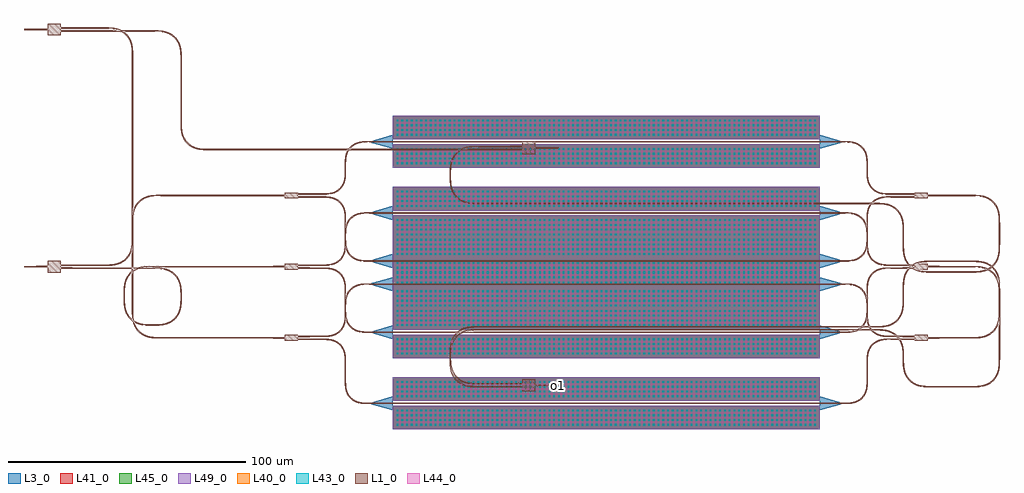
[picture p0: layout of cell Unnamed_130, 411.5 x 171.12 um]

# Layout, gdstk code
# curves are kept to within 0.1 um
from math import pi, radians
import gdstk
lib = gdstk.Library(unit=1e-6, precision=1e-09)
def R(c, l, rs):  # rectangles x0, y0, x1, y1
    for r in rs: c.add(gdstk.rectangle(r[:2], r[2:], *l))
def P(c, l, *ps):  # polygons
    for p in ps: c.add(gdstk.Polygon(p, *l))
L1_0 = (1, 0)
L3_0 = (3, 0)
L40_0 = (40, 0)
L41_0 = (41, 0)
L43_0 = (43, 0)
L44_0 = (44, 0)
L45_0 = (45, 0)
L49_0 = (49, 0)

mmi_gdsfactorypcomponent = lib.new_cell('mmi_gdsfactorypcomponentspmmispmmi_I1_O2_WNone_WT1_LT10_571b94f3')
P(mmi_gdsfactorypcomponent, L1_0, [(0,-2.5),(0,-0.5),(-10,-0.25),(-10,0.25),(0,0.5),(0,2.5),(5.5,2.5),(5.5,1.125),(15.5,0.875),(15.5,0.375),(5.5,0.125),(5.5,-0.125),(15.5,-0.375),(15.5,-0.875),(5.5,-1.125),(5.5,-2.5)])

mmi1x2_gdsfactorypcompon = lib.new_cell('mmi1x2_gdsfactorypcomponentspmmispmmi1x2_WNone_WT1_LT10_1f097353')
P(mmi1x2_gdsfactorypcompon, L1_0, [(0,-1.25),(0,-0.5),(-10,-0.25),(-10,0.25),(0,0.5),(0,1.25),(5.5,1.25),(5.5,1.125),(15.5,0.875),(15.5,0.375),(5.5,0.125),(5.5,-0.125),(15.5,-0.375),(15.5,-0.875),(5.5,-1.125),(5.5,-1.25)])

bend_euler_gdsfactorypco = lib.new_cell('bend_euler_gdsfactorypcomponentspbendspbend_euler_RNone_387600b2')
P(bend_euler_gdsfactorypco, L1_0, [(0,-0.25),(0,0.25),(2.881,0.353),(3.952,0.52),(4.99,0.806),(6.431,1.505),(7.575,2.425),(8.495,3.569),(9.194,5.01),(9.48,6.048),(9.647,7.119),(9.75,10),(10.25,10),(10.158,7.205),(9.797,5.254),(9.457,4.312),(9.066,3.545),(8.5,2.715),(7.928,2.072),(7.285,1.5),(6.455,0.934),(5.688,0.543),(4.746,0.203),(2.795,-0.158)])

straight_gdsfactorypcomp = lib.new_cell('straight_gdsfactorypcomponentspwaveguidespstraight_L2_N_815d3d03')
R(straight_gdsfactorypcomp, L1_0, [(0,-0.25,2,0.25)])

c_straight_gdsfactorypcomp = lib.new_cell('straight_gdsfactorypcomponentspwaveguidespstraight_L7_N_ecd9aecc')
R(c_straight_gdsfactorypcomp, L1_0, [(0,-0.25,7,0.25)])

c_straight_gdsfactorypcomp_ = lib.new_cell('straight_gdsfactorypcomponentspwaveguidespstraight_L180_c6573083')
R(c_straight_gdsfactorypcomp_, L1_0, [(0,-0.25,180,0.25)])

taper_strip_to_ridge_gds = lib.new_cell('taper_strip_to_ridge_gdsfactorypcomponentsptapersptaper_947a0bf0')
R(taper_strip_to_ridge_gds, L1_0, [(0,-0.25,10,0.25)])
P(taper_strip_to_ridge_gds, L3_0, [(10,-3),(0,-0.075),(0,0.075),(10,3)])

compass_gdsfactorypcompo = lib.new_cell('compass_gdsfactorypcomponentspshapespcompass_S180_10_LS_ac7757bf')
R(compass_gdsfactorypcompo, L3_0, [(-90,-5,90,5)])

c_compass_gdsfactorypcompo = lib.new_cell('compass_gdsfactorypcomponentspshapespcompass_S180_10_LM_4e0af846')
R(c_compass_gdsfactorypcompo, L41_0, [(-90,-5,90,5)])

c_compass_gdsfactorypcompo_ = lib.new_cell('compass_gdsfactorypcomponentspshapespcompass_S180_10_LM_ffb56291')
R(c_compass_gdsfactorypcompo_, L45_0, [(-90,-5,90,5)])

c_compass_gdsfactorypcompo__ = lib.new_cell('compass_gdsfactorypcomponentspshapespcompass_S180_10_LM_d431091e')
R(c_compass_gdsfactorypcompo__, L49_0, [(-90,-5,90,5)])

via_gdsfactorypcomponent = lib.new_cell('via_gdsfactorypcomponentspviaspvia_S0p7_0p7_E1_LVIAC_BL_572539c8')
R(via_gdsfactorypcomponent, L40_0, [(-0.35,-0.35,0.35,0.35)])

c_via_gdsfactorypcomponent = lib.new_cell('via_gdsfactorypcomponentspviaspvia_S0p7_0p7_E2_LVIA1_BL_efa29aa3')
R(c_via_gdsfactorypcomponent, L44_0, [(-0.35,-0.35,0.35,0.35)])

c_via_gdsfactorypcomponent_ = lib.new_cell('via_gdsfactorypcomponentspviaspvia_S0p7_0p7_E1_LVIA2_BL_c51b5ebb')
R(c_via_gdsfactorypcomponent_, L43_0, [(-0.35,-0.35,0.35,0.35)])

via_stack_gdsfactorypcom = lib.new_cell('via_stack_gdsfactorypcomponentspviaspvia_stack_S180_10__ac52c1b0')
via_stack_gdsfactorypcom.add(gdstk.Reference(compass_gdsfactorypcompo, (0,0)))
via_stack_gdsfactorypcom.add(gdstk.Reference(c_compass_gdsfactorypcompo, (0,0)))
via_stack_gdsfactorypcom.add(gdstk.Reference(c_compass_gdsfactorypcompo_, (0,0)))
via_stack_gdsfactorypcom.add(gdstk.Reference(c_compass_gdsfactorypcompo__, (0,0)))
r = gdstk.Reference(via_gdsfactorypcomponent, (-88,-3)); r.repetition = gdstk.Repetition(89, 4, v1=(2,0), v2=(0,2)); via_stack_gdsfactorypcom.add(r)
r = gdstk.Reference(c_via_gdsfactorypcomponent, (-87,-2)); r.repetition = gdstk.Repetition(88, 3, v1=(2,0), v2=(0,2)); via_stack_gdsfactorypcom.add(r)
r = gdstk.Reference(c_via_gdsfactorypcomponent_, (-88,-3)); r.repetition = gdstk.Repetition(89, 4, v1=(2,0), v2=(0,2)); via_stack_gdsfactorypcom.add(r)

straight_pin_gdsfactoryp = lib.new_cell('straight_pin_gdsfactorypcomponentspwaveguidespstraight__77e81821')
straight_pin_gdsfactoryp.add(gdstk.Reference(c_straight_gdsfactorypcomp_, (0,0)))
straight_pin_gdsfactoryp.add(gdstk.Reference(taper_strip_to_ridge_gds, (-10,0)))
straight_pin_gdsfactoryp.add(gdstk.Reference(taper_strip_to_ridge_gds, (190,0), rotation=pi))
straight_pin_gdsfactoryp.add(gdstk.Reference(via_stack_gdsfactorypcom, (90,6)))
straight_pin_gdsfactoryp.add(gdstk.Reference(via_stack_gdsfactorypcom, (90,-6)))

mzi_gdsfactorypcomponent = lib.new_cell('mzi_gdsfactorypcomponentspmzispmzi_DL10_LY2_LX200_Bbend_d03ef107')
mzi_gdsfactorypcomponent.add(gdstk.Reference(mmi1x2_gdsfactorypcompon, (0,0)))
mzi_gdsfactorypcomponent.add(gdstk.Reference(bend_euler_gdsfactorypco, (15.5,-0.625), x_reflection=True))
mzi_gdsfactorypcomponent.add(gdstk.Reference(bend_euler_gdsfactorypco, (25.5,-17.625), rotation=3*pi/2))
mzi_gdsfactorypcomponent.add(gdstk.Reference(bend_euler_gdsfactorypco, (15.5,0.625)))
mzi_gdsfactorypcomponent.add(gdstk.Reference(bend_euler_gdsfactorypco, (35.5,22.625), rotation=pi))
mzi_gdsfactorypcomponent.add(gdstk.Reference(bend_euler_gdsfactorypco, (245.5,12.625), rotation=pi/2))
mzi_gdsfactorypcomponent.add(gdstk.Reference(bend_euler_gdsfactorypco, (245.5,10.625), rotation=3*pi/2))
mzi_gdsfactorypcomponent.add(gdstk.Reference(bend_euler_gdsfactorypco, (235.5,-27.625)))
mzi_gdsfactorypcomponent.add(gdstk.Reference(bend_euler_gdsfactorypco, (255.5,-0.625), rotation=pi))
mzi_gdsfactorypcomponent.add(gdstk.Reference(straight_gdsfactorypcomp, (25.5,10.625), rotation=pi/2))
mzi_gdsfactorypcomponent.add(gdstk.Reference(c_straight_gdsfactorypcomp, (25.5,-10.625), rotation=3*pi/2))
mzi_gdsfactorypcomponent.add(gdstk.Reference(straight_pin_gdsfactoryp, (45.5,22.625)))
mzi_gdsfactorypcomponent.add(gdstk.Reference(straight_pin_gdsfactoryp, (45.5,-27.625)))
mzi_gdsfactorypcomponent.add(gdstk.Reference(mmi1x2_gdsfactorypcompon, (271,0), rotation=pi, x_reflection=True))
mzi_gdsfactorypcomponent.add(gdstk.Reference(straight_gdsfactorypcomp, (245.5,10.625), rotation=pi/2))
mzi_gdsfactorypcomponent.add(gdstk.Reference(c_straight_gdsfactorypcomp, (245.5,-17.625), rotation=pi/2))

c_mmi_gdsfactorypcomponent = lib.new_cell('mmi_gdsfactorypcomponentspmmispmmi_I2_O1_WNone_WT1_LT10_62ac434d')
P(c_mmi_gdsfactorypcomponent, L1_0, [(0,-2.5),(0,-1.125),(-10,-0.875),(-10,-0.375),(0,-0.125),(0,0.125),(-10,0.375),(-10,0.875),(0,1.125),(0,2.5),(5.5,2.5),(5.5,0.5),(15.5,0.25),(15.5,-0.25),(5.5,-0.5),(5.5,-2.5)])

c_bend_euler_gdsfactorypco = lib.new_cell('bend_euler_gdsfactorypcomponentspbendspbend_euler_R12_A_9e9e73f9')
P(c_bend_euler_gdsfactorypco, L1_0, [(0,-0.25),(0,0.25),(1.893,0.27),(3.499,0.378),(4.815,0.589),(5.963,0.906),(6.826,1.256),(7.653,1.707),(8.422,2.249),(9.125,2.875),(9.751,3.578),(10.293,4.347),(10.744,5.174),(11.094,6.037),(11.411,7.185),(11.622,8.501),(11.73,10.107),(11.75,12),(12.25,12),(12.147,8.72),(11.981,7.488),(11.733,6.406),(11.369,5.351),(10.865,4.328),(10.317,3.493),(9.579,2.623),(8.733,1.857),(7.795,1.208),(6.78,0.686),(5.728,0.306),(4.512,0.019),(3.28,-0.147)])

c_straight_gdsfactorypcomp__ = lib.new_cell('straight_gdsfactorypcomponentspwaveguidespstraight_L8p2_ef4555e0')
R(c_straight_gdsfactorypcomp__, L1_0, [(0,-0.25,8.25,0.25)])

c_straight_gdsfactorypcomp___ = lib.new_cell('straight_gdsfactorypcomponentspwaveguidespstraight_L5p3_76a498c7')
R(c_straight_gdsfactorypcomp___, L1_0, [(0,-0.25,5.375,0.25)])

c_straight_gdsfactorypcomp____ = lib.new_cell('straight_gdsfactorypcomponentspwaveguidespstraight_L42p_e911443d')
R(c_straight_gdsfactorypcomp____, L1_0, [(0,-0.25,42.25,0.25)])

c_straight_gdsfactorypcomp_____ = lib.new_cell('straight_gdsfactorypcomponentspwaveguidespstraight_L28p_35f6d910')
R(c_straight_gdsfactorypcomp_____, L1_0, [(0,-0.25,28.75,0.25)])

c_straight_gdsfactorypcomp______ = lib.new_cell('straight_gdsfactorypcomponentspwaveguidespstraight_L0p6_1afb0928')
R(c_straight_gdsfactorypcomp______, L1_0, [(0,-0.25,0.625,0.25)])

c_straight_gdsfactorypcomp_______ = lib.new_cell('straight_gdsfactorypcomponentspwaveguidespstraight_L45p_aac8c24e')
R(c_straight_gdsfactorypcomp_______, L1_0, [(0,-0.25,45.75,0.25)])

c_straight_gdsfactorypcomp________ = lib.new_cell('straight_gdsfactorypcomponentspwaveguidespstraight_L106_7b6ef817')
R(c_straight_gdsfactorypcomp________, L1_0, [(0,-0.25,106.625,0.25)])

c_straight_gdsfactorypcomp_________ = lib.new_cell('straight_gdsfactorypcomponentspwaveguidespstraight_L26__3da9e238')
R(c_straight_gdsfactorypcomp_________, L1_0, [(0,-0.25,26,0.25)])

c_straight_gdsfactorypcomp__________ = lib.new_cell('straight_gdsfactorypcomponentspwaveguidespstraight_L121_351d49ab')
R(c_straight_gdsfactorypcomp__________, L1_0, [(0,-0.25,121.75,0.25)])

c_straight_gdsfactorypcomp___________ = lib.new_cell('straight_gdsfactorypcomponentspwaveguidespstraight_L16p_2c325ffd')
R(c_straight_gdsfactorypcomp___________, L1_0, [(0,-0.25,16.501,0.25)])

c_straight_gdsfactorypcomp____________ = lib.new_cell('straight_gdsfactorypcomponentspwaveguidespstraight_L4p8_c5755436')
R(c_straight_gdsfactorypcomp____________, L1_0, [(0,-0.25,4.875,0.25)])

c_straight_gdsfactorypcomp_____________ = lib.new_cell('straight_gdsfactorypcomponentspwaveguidespstraight_L166_af92d1b4')
R(c_straight_gdsfactorypcomp_____________, L1_0, [(0,-0.25,166.999,0.25)])

c_straight_gdsfactorypcomp______________ = lib.new_cell('straight_gdsfactorypcomponentspwaveguidespstraight_L26p_11c13cfd')
R(c_straight_gdsfactorypcomp______________, L1_0, [(0,-0.25,26.625,0.25)])

c_straight_gdsfactorypcomp_______________ = lib.new_cell('straight_gdsfactorypcomponentspwaveguidespstraight_L3p6_8d64c98f')
R(c_straight_gdsfactorypcomp_______________, L1_0, [(0,-0.25,3.625,0.25)])

unnamed_130 = lib.new_cell('Unnamed_130')
P(unnamed_130, L1_0, [(215.5,-50.25),(215.5,-50),(215.525,-50),(215.525,-50.188),(215.715,-50),(215.5,-50),(215.5,-49.75),(215.75,-50)])
unnamed_130.add(gdstk.Reference(mmi_gdsfactorypcomponent, (0,0)))
unnamed_130.add(gdstk.Reference(mmi_gdsfactorypcomponent, (0,100)))
unnamed_130.add(gdstk.Reference(mzi_gdsfactorypcomponent, (100,30)))
unnamed_130.add(gdstk.Reference(mzi_gdsfactorypcomponent, (100,0)))
unnamed_130.add(gdstk.Reference(mzi_gdsfactorypcomponent, (100,-30)))
unnamed_130.add(gdstk.Reference(c_mmi_gdsfactorypcomponent, (200,50)))
unnamed_130.add(gdstk.Reference(c_mmi_gdsfactorypcomponent, (200,-50)))
unnamed_130.add(gdstk.Reference(c_bend_euler_gdsfactorypco, (35.75,12.625), rotation=3*pi/2, x_reflection=True))
unnamed_130.add(gdstk.Reference(c_straight_gdsfactorypcomp__, (15.5,0.625)))
unnamed_130.add(gdstk.Reference(c_bend_euler_gdsfactorypco, (47.75,30), rotation=pi))
unnamed_130.add(gdstk.Reference(c_straight_gdsfactorypcomp___, (35.75,12.625), rotation=pi/2))
unnamed_130.add(gdstk.Reference(c_straight_gdsfactorypcomp____, (47.75,30)))
unnamed_130.add(gdstk.Reference(c_bend_euler_gdsfactorypco, (56.25,-12.625), rotation=pi/2))
unnamed_130.add(gdstk.Reference(c_straight_gdsfactorypcomp_____, (15.5,-0.625)))
unnamed_130.add(gdstk.Reference(c_bend_euler_gdsfactorypco, (44.25,-24.625)))
unnamed_130.add(gdstk.Reference(c_bend_euler_gdsfactorypco, (32.25,-12.625), rotation=3*pi/2))
unnamed_130.add(gdstk.Reference(c_bend_euler_gdsfactorypco, (44.25,0), rotation=pi))
unnamed_130.add(gdstk.Reference(c_straight_gdsfactorypcomp______, (32.25,-12.625), rotation=pi/2))
unnamed_130.add(gdstk.Reference(c_straight_gdsfactorypcomp_______, (44.25,0)))
unnamed_130.add(gdstk.Reference(c_bend_euler_gdsfactorypco, (35.75,88.625), rotation=pi/2))
unnamed_130.add(gdstk.Reference(c_straight_gdsfactorypcomp__, (15.5,100.625)))
unnamed_130.add(gdstk.Reference(c_bend_euler_gdsfactorypco, (47.75,-30), rotation=pi, x_reflection=True))
unnamed_130.add(gdstk.Reference(c_straight_gdsfactorypcomp________, (35.75,88.625), rotation=3*pi/2))
unnamed_130.add(gdstk.Reference(c_straight_gdsfactorypcomp____, (47.75,-30)))
unnamed_130.add(gdstk.Reference(c_bend_euler_gdsfactorypco, (56.25,87.375), rotation=pi/2))
unnamed_130.add(gdstk.Reference(c_straight_gdsfactorypcomp_____, (15.5,99.375)))
unnamed_130.add(gdstk.Reference(c_bend_euler_gdsfactorypco, (68.25,49.375), rotation=pi, x_reflection=True))
unnamed_130.add(gdstk.Reference(c_straight_gdsfactorypcomp_________, (56.25,87.375), rotation=3*pi/2))
unnamed_130.add(gdstk.Reference(c_straight_gdsfactorypcomp__________, (68.25,49.375)))
unnamed_130.add(gdstk.Reference(c_bend_euler_gdsfactorypco, (401.25,18), rotation=pi/2))
unnamed_130.add(gdstk.Reference(c_straight_gdsfactorypcomp__, (381,30)))
unnamed_130.add(gdstk.Reference(c_bend_euler_gdsfactorypco, (389.25,-2.25)))
unnamed_130.add(gdstk.Reference(c_straight_gdsfactorypcomp__, (401.25,18), rotation=3*pi/2))
unnamed_130.add(gdstk.Reference(c_bend_euler_gdsfactorypco, (360.749,9.75), rotation=3*pi/2))
unnamed_130.add(gdstk.Reference(c_straight_gdsfactorypcomp___________, (389.25,-2.25), rotation=pi))
unnamed_130.add(gdstk.Reference(c_bend_euler_gdsfactorypco, (348.749,26.625), x_reflection=True))
unnamed_130.add(gdstk.Reference(c_straight_gdsfactorypcomp____________, (360.749,9.75), rotation=pi/2))
unnamed_130.add(gdstk.Reference(c_bend_euler_gdsfactorypco, (169.75,38.625), rotation=3*pi/2))
unnamed_130.add(gdstk.Reference(c_straight_gdsfactorypcomp_____________, (348.749,26.625), rotation=pi))
unnamed_130.add(gdstk.Reference(c_bend_euler_gdsfactorypco, (181.75,50.625), rotation=pi))
unnamed_130.add(gdstk.Reference(c_straight_gdsfactorypcomp__, (181.75,50.625)))
unnamed_130.add(gdstk.Reference(c_bend_euler_gdsfactorypco, (401.25,-12), rotation=pi/2))
unnamed_130.add(gdstk.Reference(c_straight_gdsfactorypcomp__, (381,0)))
unnamed_130.add(gdstk.Reference(c_bend_euler_gdsfactorypco, (389.25,-50.625)))
unnamed_130.add(gdstk.Reference(c_straight_gdsfactorypcomp______________, (401.25,-12), rotation=3*pi/2))
unnamed_130.add(gdstk.Reference(c_bend_euler_gdsfactorypco, (360.749,-38.625), rotation=3*pi/2))
unnamed_130.add(gdstk.Reference(c_straight_gdsfactorypcomp___________, (389.25,-50.625), rotation=pi))
unnamed_130.add(gdstk.Reference(c_bend_euler_gdsfactorypco, (348.749,-26.625), x_reflection=True))
unnamed_130.add(gdstk.Reference(c_bend_euler_gdsfactorypco, (169.75,-38.625), rotation=pi/2, x_reflection=True))
unnamed_130.add(gdstk.Reference(c_straight_gdsfactorypcomp_____________, (348.749,-26.625), rotation=pi))
unnamed_130.add(gdstk.Reference(c_bend_euler_gdsfactorypco, (181.75,-50.625), rotation=pi, x_reflection=True))
unnamed_130.add(gdstk.Reference(c_straight_gdsfactorypcomp__, (181.75,-50.625)))
unnamed_130.add(gdstk.Reference(c_bend_euler_gdsfactorypco, (401.25,-18), rotation=3*pi/2, x_reflection=True))
unnamed_130.add(gdstk.Reference(c_straight_gdsfactorypcomp__, (381,-30)))
unnamed_130.add(gdstk.Reference(c_bend_euler_gdsfactorypco, (389.25,2.25), x_reflection=True))
unnamed_130.add(gdstk.Reference(c_straight_gdsfactorypcomp__, (401.25,-18), rotation=pi/2))
unnamed_130.add(gdstk.Reference(c_bend_euler_gdsfactorypco, (360.749,-9.75), rotation=pi/2, x_reflection=True))
unnamed_130.add(gdstk.Reference(c_straight_gdsfactorypcomp___________, (389.25,2.25), rotation=pi))
unnamed_130.add(gdstk.Reference(c_bend_euler_gdsfactorypco, (348.749,-25.375)))
unnamed_130.add(gdstk.Reference(c_straight_gdsfactorypcomp_______________, (360.749,-9.75), rotation=3*pi/2))
unnamed_130.add(gdstk.Reference(c_bend_euler_gdsfactorypco, (169.75,-37.375), rotation=pi/2, x_reflection=True))
unnamed_130.add(gdstk.Reference(c_straight_gdsfactorypcomp_____________, (348.749,-25.375), rotation=pi))
unnamed_130.add(gdstk.Reference(c_bend_euler_gdsfactorypco, (181.75,-49.375), rotation=pi, x_reflection=True))
unnamed_130.add(gdstk.Reference(c_straight_gdsfactorypcomp__, (181.75,-49.375)))
unnamed_130.add(gdstk.Label('o1', (215.5,-50), layer=1, texttype=0))

lib.write_gds('Unnamed_130.gds')
